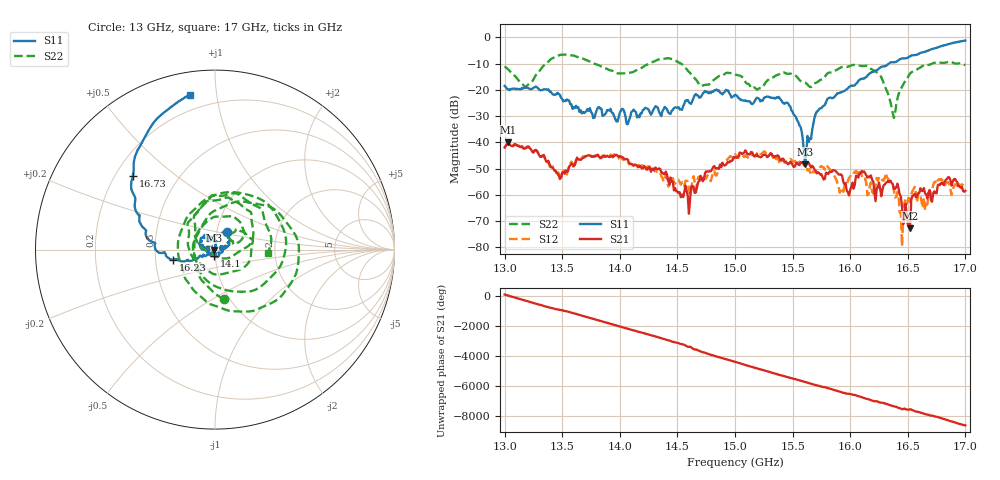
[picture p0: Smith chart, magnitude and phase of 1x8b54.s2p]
!Keysight Technologies,P9374A,MY57211807,A.19.30.04
!Date: Friday, May 08, 2026 14:29:30
!Correction: S11(C  2-Port  )
!S21(C  2-Port  )
!S12(C  2-Port  )
!S22(C  2-Port  )
!S2P File: Measurements: S11, S21, S12, S22:
# Hz S  dB  R 50
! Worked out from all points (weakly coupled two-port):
!   401 points, 13 GHz to 17 GHz, reference 50 ohm
!   highest |S21| = -40.05 dB at 13.03 GHz (marker M1); lowest = -72.7 dB at 16.52 GHz (marker M2)
!   lowest |S11| = -48.4 dB at 15.61 GHz (marker M3), VSWR 1.01, Z = 49.7 - j0.191 ohm
!   |S11| at or under -10 dB: start of sweep to 16.34 GHz
!   |S22| runs from -30.7 to -6.5 dB; largest |S21 - S12| = 0.0015
!   S11 on the Smith chart (normalised r, x): 13 GHz: 1.11, +0.23; 14.1 GHz: 0.99, -0.07; 16.23 GHz: 0.62, -0.07; 16.73 GHz: 0.27, +0.36; 17 GHz: 0.12, +0.84
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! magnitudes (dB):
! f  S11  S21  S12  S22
! 13 GHz  -18.5  -42.0  -41.9  -11.1
! 13.03 GHz  -19.8  -40.0  -40.2  -12.1
! 13.19 GHz  -19.1  -42.1  -41.8  -18.6
! 13.47 GHz  -21.6  -52.7  -51.7  -6.8
! 13.67 GHz  -29.0  -46.3  -46.0  -7.9
! 14.1 GHz  -28.4  -48.3  -48.2  -13.4
! 14.34 GHz  -28.3  -49.9  -51.3  -8.4
! 14.6 GHz  -24.7  -67.2  -58.0  -13.1
! 15 GHz  -21.9  -45.7  -44.5  -14.1
! 15.46 GHz  -25.0  -48.4  -47.2  -13.9
! 15.61 GHz  -48.4  -48.9  -50.2  -17.3
! 15.67 GHz  -35.3  -48.9  -51.7  -18.6
! 15.81 GHz  -23.2  -52.1  -49.5  -13.5
! 15.92 GHz  -21.0  -52.2  -57.4  -11.4
! 16.23 GHz  -12.5  -57.8  -53.6  -13.3
! 16.34 GHz  -9.9  -55.2  -54.7  -23.2
! 16.38 GHz  -9.5  -57.6  -58.5  -30.7
! 16.45 GHz  -8.0  -64.5  -79.6  -18.8
! 16.52 GHz  -7.2  -72.7  -62.8  -13.8
! 16.65 GHz  -5.5  -59.5  -65.8  -10.4
! 16.73 GHz  -4.2  -58.7  -55.1  -9.7
! 17 GHz  -1.2  -58.5  -55.2  -10.6
